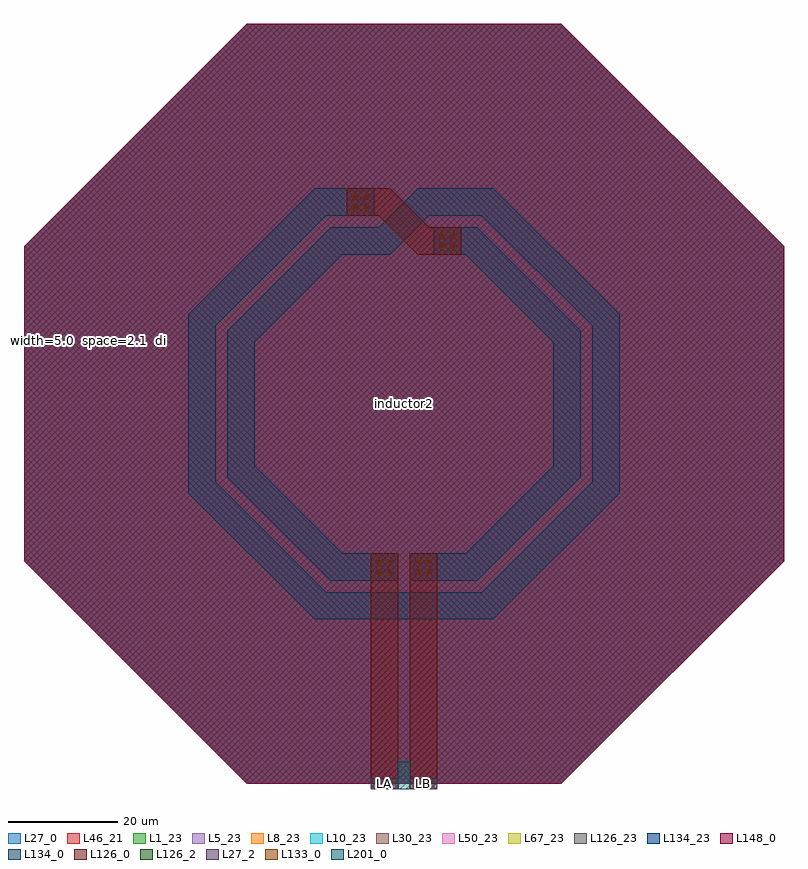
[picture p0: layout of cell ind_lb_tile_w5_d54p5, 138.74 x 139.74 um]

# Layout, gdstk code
import gdstk
lib = gdstk.Library(unit=1e-6, precision=1e-09)
def R(c, l, rs):  # rectangles x0, y0, x1, y1
    for r in rs: c.add(gdstk.rectangle(r[:2], r[2:], *l))
def P(c, l, *ps):  # polygons
    for p in ps: c.add(gdstk.Polygon(p, *l))
L1_23 = (1, 23)
L5_23 = (5, 23)
L8_23 = (8, 23)
L10_23 = (10, 23)
L27_0 = (27, 0)
L27_2 = (27, 2)
L30_23 = (30, 23)
L46_21 = (46, 21)
L50_23 = (50, 23)
L67_23 = (67, 23)
L126_0 = (126, 0)
L126_2 = (126, 2)
L126_23 = (126, 23)
L133_0 = (133, 0)
L134_0 = (134, 0)
L134_23 = (134, 23)
L148_0 = (148, 0)
L201_0 = (201, 0)

ind_lb_tile_w5_d54p5 = lib.new_cell('ind_lb_tile_w5_d54p5')
P(ind_lb_tile_w5_d54p5, L1_23, [(-28.73,0),(-69.37,40.64),(-69.37,98.1),(-28.73,138.74),(28.73,138.74),(69.37,98.1),(69.37,40.64),(28.73,0)])
P(ind_lb_tile_w5_d54p5, L5_23, [(-28.73,0),(-69.37,40.64),(-69.37,98.1),(-28.73,138.74),(28.73,138.74),(69.37,98.1),(69.37,40.64),(28.73,0)])
P(ind_lb_tile_w5_d54p5, L8_23, [(-28.73,0),(-69.37,40.64),(-69.37,98.1),(-28.73,138.74),(28.73,138.74),(69.37,98.1),(69.37,40.64),(28.73,0)])
P(ind_lb_tile_w5_d54p5, L10_23, [(-28.73,0),(-69.37,40.64),(-69.37,98.1),(-28.73,138.74),(28.73,138.74),(69.37,98.1),(69.37,40.64),(28.73,0)])
P(ind_lb_tile_w5_d54p5, L27_0, [(-28.73,0),(-69.37,40.64),(-69.37,98.1),(-28.73,138.74),(28.73,138.74),(69.37,98.1),(69.37,40.64),(28.73,0)])
R(ind_lb_tile_w5_d54p5, L27_2, [(-6.05,-1,-1.05,1), (1.05,-1,6.05,1)])
P(ind_lb_tile_w5_d54p5, L30_23, [(-28.73,0),(-69.37,40.64),(-69.37,98.1),(-28.73,138.74),(28.73,138.74),(69.37,98.1),(69.37,40.64),(28.73,0)])
P(ind_lb_tile_w5_d54p5, L46_21, [(-28.73,0),(-69.37,40.64),(-69.37,98.1),(-28.73,138.74),(28.73,138.74),(69.37,98.1),(69.37,40.64),(28.73,0)])
P(ind_lb_tile_w5_d54p5, L50_23, [(-28.73,0),(-69.37,40.64),(-69.37,98.1),(-28.73,138.74),(28.73,138.74),(69.37,98.1),(69.37,40.64),(28.73,0)])
P(ind_lb_tile_w5_d54p5, L67_23, [(-28.73,0),(-69.37,40.64),(-69.37,98.1),(-28.73,138.74),(28.73,138.74),(69.37,98.1),(69.37,40.64),(28.73,0)])
P(ind_lb_tile_w5_d54p5, L126_0, [(2.535,96.6),(-4.585,103.72),(-10.475,103.72),(-10.475,108.72),(-2.535,108.72),(4.585,101.6),(10.475,101.6),(10.475,96.6)])
R(ind_lb_tile_w5_d54p5, L126_2, [(-6.05,-1,-1.05,1), (-6.05,-1,-1.05,1), (1.05,-1,6.05,1), (1.05,-1,6.05,1)])
P(ind_lb_tile_w5_d54p5, L126_23, [(-28.73,0),(-69.37,40.64),(-69.37,98.1),(-28.73,138.74),(28.73,138.74),(69.37,98.1),(69.37,40.64),(28.73,0)])
R(ind_lb_tile_w5_d54p5, L133_0, [(-4.98,38.17,-4.08,39.07), (-3.02,38.17,-2.12,39.07), (2.12,38.17,3.02,39.07), (4.08,38.17,4.98,39.07), (-4.98,40.13,-4.08,41.03), (-3.02,40.13,-2.12,41.03), (2.12,40.13,3.02,41.03), (4.08,40.13,4.98,41.03), (6.545,97.67,7.445,98.57), (8.505,97.67,9.405,98.57), (6.545,99.63,7.445,100.53), (8.505,99.63,9.405,100.53), (-9.405,104.77,-8.505,105.67), (-7.445,104.77,-6.545,105.67), (-9.405,106.73,-8.505,107.63), (-7.445,106.73,-6.545,107.63)])
R(ind_lb_tile_w5_d54p5, L134_0, [(-5.475,30,5.475,35)])
P(ind_lb_tile_w5_d54p5, L134_0, [(1.05,37.1),(1.05,42.1),(11.285,42.1),(27.25,58.065),(27.25,80.635),(11.285,96.6),(5.475,96.6),(5.475,101.6),(13.365,101.6),(32.25,82.715),(32.25,55.985),(13.365,37.1)],
  [(-13.365,37.1),(-32.25,55.985),(-32.25,82.715),(-13.365,101.6),(-5.475,101.6),(-5.475,96.6),(-11.285,96.6),(-27.25,80.635),(-27.25,58.065),(-11.285,42.1),(-1.05,42.1),(-1.05,37.1)],
  [(-5.475,96.6),(-5.475,101.6),(-4.585,101.6),(2.535,108.72),(5.475,108.72),(5.475,103.72),(4.615,103.72),(-2.505,96.6)],
  [(5.475,30),(5.475,35),(14.23,35),(34.36,55.13),(34.36,83.59),(14.23,103.72),(5.475,103.72),(5.475,108.72),(16.31,108.72),(39.36,85.67),(39.36,53.05),(16.31,30)],
  [(-16.31,30),(-39.36,53.05),(-39.36,85.67),(-16.31,108.72),(-5.475,108.72),(-5.475,103.72),(-14.23,103.72),(-34.36,83.59),(-34.36,55.13),(-14.23,35),(-5.475,35),(-5.475,30)])
P(ind_lb_tile_w5_d54p5, L134_23, [(-28.73,0),(-69.37,40.64),(-69.37,98.1),(-28.73,138.74),(28.73,138.74),(69.37,98.1),(69.37,40.64),(28.73,0)])
P(ind_lb_tile_w5_d54p5, L148_0, [(-28.73,0),(-69.37,40.64),(-69.37,98.1),(-28.73,138.74),(28.73,138.74),(69.37,98.1),(69.37,40.64),(28.73,0)])
R(ind_lb_tile_w5_d54p5, L201_0, [(-1.05,-1,1.05,4)])
ind_lb_tile_w5_d54p5.add(gdstk.FlexPath([(3.55,-1),(3.55,42.1)], 5, ends="flush", simple_path=True, layer=126, datatype=0))  # L126_0
ind_lb_tile_w5_d54p5.add(gdstk.FlexPath([(-3.55,-1),(-3.55,42.1)], 5, ends="flush", simple_path=True, layer=126, datatype=0))  # L126_0
ind_lb_tile_w5_d54p5.add(gdstk.Label('LB', (3.55,0), layer=27, texttype=25))
ind_lb_tile_w5_d54p5.add(gdstk.Label('LA', (-3.55,0), layer=27, texttype=25))
ind_lb_tile_w5_d54p5.add(gdstk.Label('inductor2', (0,69.398), layer=63, texttype=0))
ind_lb_tile_w5_d54p5.add(gdstk.Label('  width=5.0\n  space=2.1\n  diameter=54.50\n  turns=2', (-69.37,80.92), layer=63, texttype=0))

lib.write_gds('ind_lb_tile_w5_d54p5.gds')
